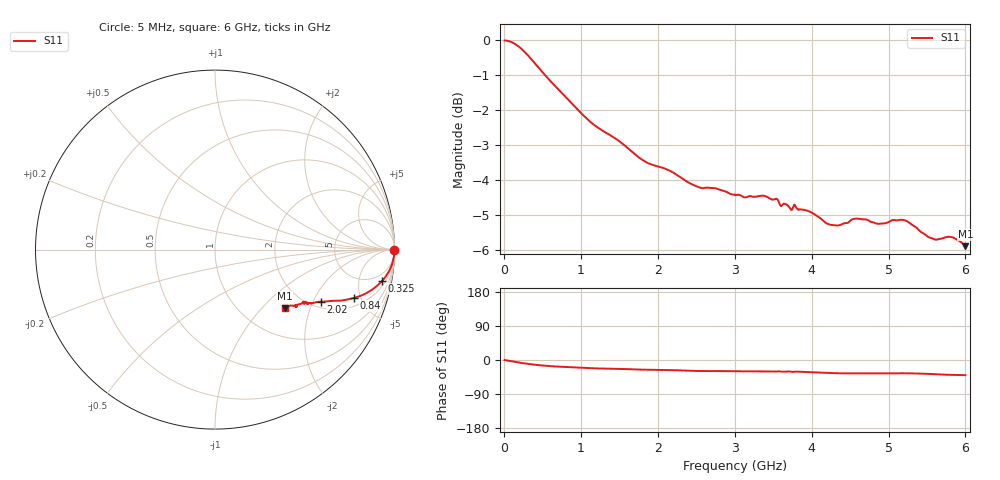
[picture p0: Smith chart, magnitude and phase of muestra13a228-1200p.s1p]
# Hz S RI R 50.000000
! Metas.Vna.Tools, 3.0.9519.15400
! Metas.Vna.Data, 3.0.9519.15360
! Created: UTC 2026.10.24 15:41:12
! FREQ  re:S1,1  im:S1,1
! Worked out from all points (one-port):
!   1200 points, 5 MHz to 6 GHz, reference 50 ohm
!   lowest |S11| = -5.9 dB at 6 GHz (marker M1), VSWR 3.06, Z = 77.3 - j67.8 ohm
!   |S11| at or under -10 dB: nowhere
!   S11 on the Smith chart (normalised r, x): 5 MHz: open; 325 MHz: 3, -10; 840 MHz: 2.66, -4.38; 2.02 GHz: 2.26, -2.31; 6 GHz: 1.55, -1.36
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5000000  1 -0.00301
1.5e8  0.9827 -0.0915
3.25e8  0.9311 -0.1748
5.15e8  0.866 -0.2293
7.55e8  0.7973 -0.2624
8.4e8  0.7753 -0.2692
1.14e9  0.7064 -0.2833
1.505e9  0.6564 -0.2853
1.8e9  0.6082 -0.2896
2.02e9  0.5913 -0.2898
2.255e9  0.5697 -0.2922
2.535e9  0.5381 -0.2992
2.765e9  0.535 -0.2991
3.005e9  0.5199 -0.299
3.395e9  0.5176 -0.2997
3.705e9  0.4981 -0.2917
3.755e9  0.4905 -0.3003
3.96e9  0.4831 -0.3006
4.25e9  0.4475 -0.3093
4.365e9  0.444 -0.3132
4.505e9  0.4511 -0.3174
4.605e9  0.4554 -0.3174
4.87e9  0.448 -0.3115
5.065e9  0.4508 -0.3198
5.255e9  0.449 -0.3158
5.615e9  0.4104 -0.316
5.785e9  0.4062 -0.3293
6e9  0.3882 -0.3259
